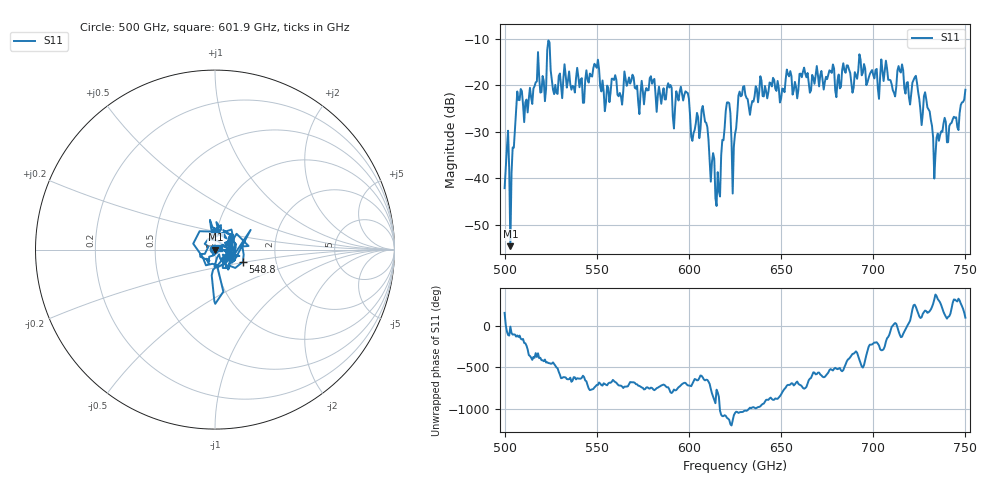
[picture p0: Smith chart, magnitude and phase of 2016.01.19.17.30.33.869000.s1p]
!Created with skrf (http://scikit-rf.org).
# GHz S RI R 50.0
!freq ReS11 ImS11
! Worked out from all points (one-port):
!   401 points, 500 GHz to 750 GHz, reference 50 ohm
!   lowest |S11| = -54.5 dB at 503.1 GHz (marker M1), VSWR 1.00, Z = 50.2 - j0.0244 ohm
!   |S11| at or under -10 dB: start of sweep to end of sweep
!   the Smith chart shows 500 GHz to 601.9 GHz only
!   S11 on the Smith chart (normalised r, x): 500 GHz: 0.99, +0.01; 548.8 GHz: 1.35, -0.19; 601.9 GHz: 1.05, +0.02
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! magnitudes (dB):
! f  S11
! 500 GHz  -42.1
! 503.1 GHz  -54.5
! 508.1 GHz  -23.2
! 521.2 GHz  -19.1
! 524.4 GHz  -10.8
! 527.5 GHz  -19.9
! 531.2 GHz  -22.8
! 541.9 GHz  -18.5
! 548.8 GHz  -15.4
! 562.5 GHz  -21.7
! 568.8 GHz  -19.0
! 593.8 GHz  -22.2
! 598.8 GHz  -21.5
! 601.9 GHz  -31.9
! 608.1 GHz  -26.1
! 615.6 GHz  -38.6
! 620.6 GHz  -23.7
! 625 GHz  -30.5
! 628.8 GHz  -22.2
! 656.2 GHz  -22.0
! 687.5 GHz  -17.4
! 705.6 GHz  -19.1
! 711.2 GHz  -21.6
! 715 GHz  -17.3
! 718.8 GHz  -19.3
! 728.8 GHz  -22.9
! 734.4 GHz  -31.2
! 750 GHz  -21.0
